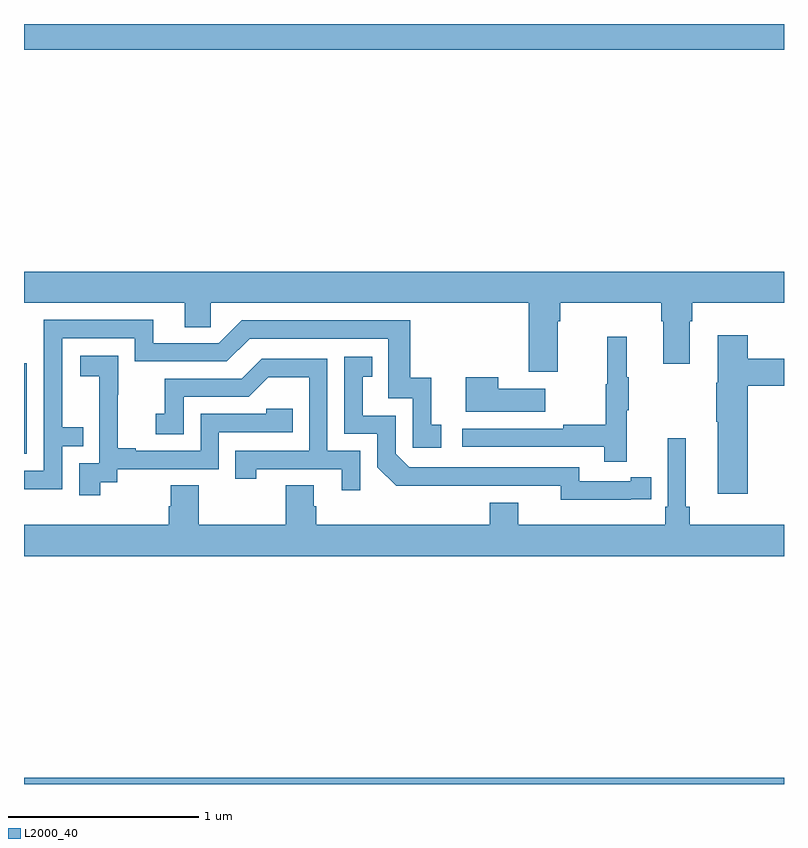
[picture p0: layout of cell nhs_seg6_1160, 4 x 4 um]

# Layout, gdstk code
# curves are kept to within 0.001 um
import gdstk
lib = gdstk.Library(unit=1e-6, precision=1e-09)
def R(c, l, rs):  # rectangles x0, y0, x1, y1
    for r in rs: c.add(gdstk.rectangle(r[:2], r[2:], *l))
def P(c, l, *ps):  # polygons
    for p in ps: c.add(gdstk.Polygon(p, *l))
L2000_40 = (2000, 40)

nhs_seg6_1160 = lib.new_cell('nhs_seg6_1160')
R(nhs_seg6_1160, L2000_40, [(183,915.5,187,915.532), (183,917.238,183.015,917.715), (183,919.364,187,919.5)])
P(nhs_seg6_1160, L2000_40, [(185.809,917.936),(185.822,917.936),(185.822,918.032),(186.353,918.032),(186.353,917.936),(186.365,917.936),(186.365,917.712),(186.505,917.712),(186.505,917.936),(186.518,917.936),(186.518,918.032),(187,918.032),(187,918.196),(183,918.196),(183,918.032),(183.845,918.032),(183.845,917.905),(183.984,917.905),(183.984,918.032),(185.657,918.032),(185.657,917.67),(185.809,917.67)],
  [(183.201,917.277),(183.311,917.277),(183.311,917.378),(183.201,917.378),(183.201,917.847),(183.582,917.847),(183.582,917.724),(184.068,917.724),(184.188,917.844),(184.917,917.844),(184.917,917.529),(185.046,917.529),(185.046,917.271),(185.197,917.271),(185.197,917.391),(185.144,917.391),(185.144,917.638),(185.033,917.638),(185.033,917.94),(184.146,917.94),(184.026,917.82),(183.679,917.82),(183.679,917.943),(183.105,917.943),(183.105,917.148),(183,917.148),(183,917.052),(183.201,917.052)],
  [(186.809,917.597),(187,917.597),(187,917.739),(186.809,917.739),(186.809,917.863),(186.65,917.863),(186.65,917.613),(186.643,917.613),(186.643,917.407),(186.65,917.407),(186.65,917.028),(186.809,917.028)],
  [(186.173,917.467),(186.184,917.467),(186.184,917.641),(186.173,917.641),(186.173,917.854),(186.07,917.854),(186.07,917.604),(186.063,917.604),(186.063,917.39),(185.839,917.39),(185.839,917.37),(185.307,917.37),(185.307,917.274),(186.055,917.274),(186.055,917.196),(186.173,917.196)],
  [(183.4,917.089),(183.492,917.089),(183.492,917.157),(184.026,917.157),(184.026,917.352),(184.415,917.352),(184.415,917.475),(184.275,917.475),(184.275,917.448),(183.93,917.448),(183.93,917.253),(183.589,917.253),(183.589,917.266),(183.494,917.266),(183.494,917.549),(183.495,917.549),(183.495,917.755),(183.297,917.755),(183.297,917.645),(183.395,917.645),(183.395,917.417),(183.396,917.417),(183.396,917.187),(183.291,917.187),(183.291,917.019),(183.4,917.019)],
  [(186.194,916.998),(186.302,916.998),(186.302,917.114),(186.194,917.114),(186.194,917.094),(185.922,917.094),(185.922,917.166),(185.028,917.166),(184.956,917.238),(184.956,917.439),(184.783,917.439),(184.783,917.643),(184.832,917.643),(184.832,917.749),(184.686,917.749),(184.686,917.343),(184.86,917.343),(184.86,917.166),(184.958,917.069),(185.826,917.07),(185.826,916.997)],
  [(184.77,917.253),(184.596,917.253),(184.596,917.739),(184.25,917.739),(184.145,917.634),(183.742,917.634),(183.742,917.449),(183.693,917.449),(183.693,917.34),(183.84,917.34),(183.84,917.538),(184.182,917.538),(184.286,917.642),(184.5,917.642),(184.5,917.253),(184.111,917.253),(184.111,917.106),(184.222,917.106),(184.222,917.157),(184.673,917.157),(184.673,917.046),(184.77,917.046)],
  [(185.743,917.581),(185.495,917.581),(185.495,917.641),(185.324,917.641),(185.324,917.459),(185.743,917.459)],
  [(187,916.864),(186.503,916.864),(186.503,916.96),(186.484,916.96),(186.484,917.32),(186.387,917.32),(186.387,916.96),(186.374,916.96),(186.374,916.864),(185.602,916.864),(185.602,916.981),(185.45,916.981),(185.45,916.864),(184.538,916.864),(184.538,916.962),(184.525,916.962),(184.525,917.072),(184.378,917.072),(184.378,916.864),(183.921,916.864),(183.921,917.072),(183.773,917.072),(183.773,916.962),(183.761,916.962),(183.761,916.864),(183,916.864),(183,916.7),(187,916.7)])

lib.write_gds('nhs_seg6_1160.gds')
